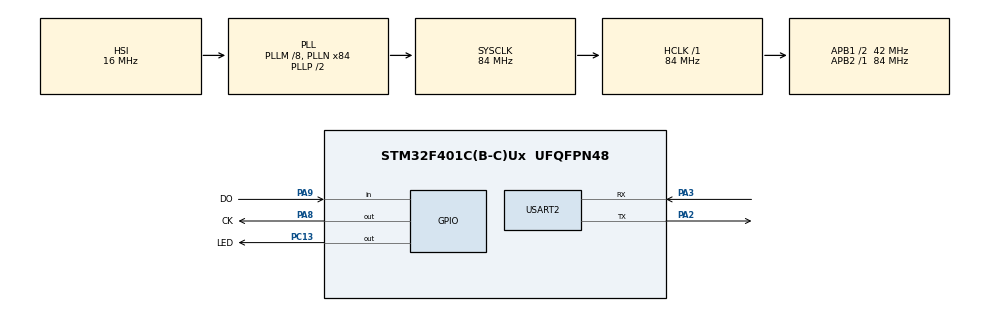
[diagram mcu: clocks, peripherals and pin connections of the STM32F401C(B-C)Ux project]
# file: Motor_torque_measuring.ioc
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Mcu.Family=STM32F4
Mcu.Name=STM32F401C(B-C)Ux
Mcu.Package=UFQFPN48
NVIC.PriorityGroup=NVIC_PRIORITYGROUP_4
NVIC.USART2_IRQn=true\:0\:0\:false\:false\:true\:true\:true\:true
PA13.Mode=Serial_Wire
PA13.Signal=SYS_JTMS-SWDIO
PA14.Mode=Serial_Wire
PA14.Signal=SYS_JTCK-SWCLK
PA2.Mode=Asynchronous
PA2.Signal=USART2_TX
PA3.Mode=Asynchronous
PA3.Signal=USART2_RX
PA8.GPIO_Label=CK
PA8.Signal=GPIO_Output
PA9.GPIO_Label=DO
PA9.Signal=GPIO_Input
PC13-ANTI_TAMP.GPIO_Label=LED
PC13-ANTI_TAMP.Signal=GPIO_Output
PH0\ -\ OSC_IN.Mode=HSE-External-Oscillator
PH0\ -\ OSC_IN.Signal=RCC_OSC_IN
PH1\ -\ OSC_OUT.Mode=HSE-External-Oscillator
PH1\ -\ OSC_OUT.Signal=RCC_OSC_OUT
ProjectManager.HeapSize=0x200
ProjectManager.StackSize=0x400
ProjectManager.TargetToolchain=CMake
RCC.48MHZClocksFreq_Value=42000000
RCC.AHBFreq_Value=84000000
RCC.APB1CLKDivider=RCC_HCLK_DIV2
RCC.APB1Freq_Value=42000000
RCC.APB1TimFreq_Value=84000000
RCC.APB2Freq_Value=84000000
RCC.APB2TimFreq_Value=84000000
RCC.CortexFreq_Value=84000000
RCC.HCLKFreq_Value=84000000
RCC.HSE_VALUE=25000000
RCC.HSI_VALUE=16000000
RCC.LSE_VALUE=32768
RCC.PLLM=8
RCC.PLLN=84
RCC.SYSCLKFreq_VALUE=84000000
RCC.SYSCLKSource=RCC_SYSCLKSOURCE_PLLCLK
RCC.VCOOutputFreq_Value=168000000
USART2.VirtualMode=VM_ASYNC
board=custom

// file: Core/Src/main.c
/* USER CODE BEGIN Header */
/**
  ******************************************************************************
  * @file           : main.c
  * @brief          : Main program body
  ******************************************************************************
  * @attention
  *
  * Copyright (c) 2026 STMicroelectronics.
  * All rights reserved.
  *
  * This software is licensed under terms that can be found in the LICENSE file
  * in the root directory of this software component.
  * If no LICENSE file comes with this software, it is provided AS-IS.
  *
  ******************************************************************************
  */
/* USER CODE END Header */
#include "main.h"
#include "stdio.h"

UART_HandleTypeDef huart2;

/* USER CODE BEGIN PV */
uint32_t last_send_time = 0;
int32_t data_int = 0;
char data_str[16]; // Buffer to hold the string representation of the integer
int32_t average_offset = 0; // Variable to hold the average offset for calibration
float alpha_filt_ = 0.1; // Smoothing factor for the low-pass filter

uint32_t HX711_cycles_max = 0; // Variable to hold the maximum HX711 cycle count
/* USER CODE END PV */

void SystemClock_Config(void);
static void MX_GPIO_Init(void);
static void MX_USART2_UART_Init(void);

/* USER CODE BEGIN 0 */
uint32_t DWT_Delay_Init(void) {
    CoreDebug->DEMCR |= CoreDebug_DEMCR_TRCENA_Msk;
    DWT->CTRL |= DWT_CTRL_CYCCNTENA_Msk;
    DWT->CYCCNT = 0;
    return 0;
}
void delay_us(uint32_t us) {
    uint32_t start = DWT->CYCCNT;
    uint32_t ticks = (SystemCoreClock / 1000000U) * us;
    while ((DWT->CYCCNT - start) < ticks) {
        // busy-wait, but only for ~1-2us at a time in HX711 use
    }
  }
int32_t HX711_read(void){
  uint32_t raw = 0;

  /* Wait here until HX711 signals a conversion is ready */
  while (HAL_GPIO_ReadPin(DO_GPIO_Port, DO_Pin) == GPIO_PIN_SET) { }

  for (int i = 0; i < 24; i++) {
    HAL_GPIO_WritePin(CK_GPIO_Port, CK_Pin, GPIO_PIN_SET);
    delay_us(1);
    raw = (raw << 1) | HAL_GPIO_ReadPin(DO_GPIO_Port, DO_Pin);
    HAL_GPIO_WritePin(CK_GPIO_Port, CK_Pin, GPIO_PIN_RESET);
    delay_us(1);
  }

  /* 25th pulse: arm next conversion as channel A, gain 128 */
  HAL_GPIO_WritePin(CK_GPIO_Port, CK_Pin, GPIO_PIN_SET);
  delay_us(1);
  HAL_GPIO_WritePin(CK_GPIO_Port, CK_Pin, GPIO_PIN_RESET);
  delay_us(1);

  /* sign-extend 24-bit two's complement into 32-bit signed */
  int32_t result;
  if (raw & 0x800000) {
    result = (int32_t)(raw | 0xFF000000);
  } else {
    result = (int32_t)raw;
  }
  result = result - average_offset;
  return result;

}

int32_t Calibrate_HX711() {
    int32_t sum = 0;
    const int num_samples = 10;

    for (int i = 0; i < num_samples; i++) {
        sum += HX711_read();
        HAL_GPIO_TogglePin(LED_GPIO_Port, LED_Pin); // Toggle LED to indicate reading
        HAL_Delay(50); // Delay between readings
    }

    int32_t average = sum / num_samples;
    // Store the average value as the offset for calibration
    // You can use this offset in your main loop to adjust readings
    return average;
}
void send_telemetry() {
    uint32_t HX711 = DWT->CYCCNT;

    data_int = HX711_read();
    int len = snprintf(data_str, sizeof(data_str), "%d\r\n", data_int); // Convert integer to string with newline
    HAL_UART_Transmit(&huart2, (uint8_t*)data_str, len, HAL_MAX_DELAY);

    uint32_t HX711_cycles = DWT->CYCCNT - HX711;
    if (HX711_cycles > HX711_cycles_max) HX711_cycles_max = HX711_cycles;
    // Takes about 8ms to read so 20ms is a good interval for sending telemetry
  }
// void send_telemetry();

// void USART_send_byte(){

// }
/* USER CODE END 0 */

int main(void)
{

  /* MCU Configuration--------------------------------------------------------*/

  /* Reset of all peripherals, Initializes the Flash interface and the Systick. */
  HAL_Init();

  /* Configure the system clock */
  SystemClock_Config();

  /* USER CODE BEGIN SysInit */
  DWT_Delay_Init(); // Initialize DWT for microsecond delay
  /* USER CODE END SysInit */

  /* Initialize all configured peripherals */
  MX_GPIO_Init();
  MX_USART2_UART_Init();
  /* USER CODE BEGIN 2 */
  average_offset = Calibrate_HX711(); // Calibrate the HX711 and get the average offset
  /* USER CODE END 2 */

  /* Infinite loop */
  while (1)
  {
    int32_t current_time = HAL_GetTick();
    if (current_time - last_send_time >= 20) { // Check if 20 ms has passed
      HAL_GPIO_TogglePin(LED_GPIO_Port, LED_Pin); // Toggle LED to indicate sending telemetry
      send_telemetry();
      last_send_time = current_time;
    }
  }
}

void SystemClock_Config(void)
{
  RCC_OscInitTypeDef RCC_OscInitStruct = {0};
  RCC_ClkInitTypeDef RCC_ClkInitStruct = {0};

  /** Configure the main internal regulator output voltage
  */
  __HAL_RCC_PWR_CLK_ENABLE();
  __HAL_PWR_VOLTAGESCALING_CONFIG(PWR_REGULATOR_VOLTAGE_SCALE2);

  /** Initializes the RCC Oscillators according to the specified parameters
  * in the RCC_OscInitTypeDef structure.
  */
  RCC_OscInitStruct.OscillatorType = RCC_OSCILLATORTYPE_HSI;
  RCC_OscInitStruct.HSIState = RCC_HSI_ON;
  RCC_OscInitStruct.HSICalibrationValue = RCC_HSICALIBRATION_DEFAULT;
  RCC_OscInitStruct.PLL.PLLState = RCC_PLL_ON;
  RCC_OscInitStruct.PLL.PLLSource = RCC_PLLSOURCE_HSI;
  RCC_OscInitStruct.PLL.PLLM = 8;
  RCC_OscInitStruct.PLL.PLLN = 84;
  RCC_OscInitStruct.PLL.PLLP = RCC_PLLP_DIV2;
  RCC_OscInitStruct.PLL.PLLQ = 4;
  if (HAL_RCC_OscConfig(&RCC_OscInitStruct) != HAL_OK)
  {
    Error_Handler();
  }

  /** Initializes the CPU, AHB and APB buses clocks
  */
  RCC_ClkInitStruct.ClockType = RCC_CLOCKTYPE_HCLK|RCC_CLOCKTYPE_SYSCLK
                              |RCC_CLOCKTYPE_PCLK1|RCC_CLOCKTYPE_PCLK2;
  RCC_ClkInitStruct.SYSCLKSource = RCC_SYSCLKSOURCE_PLLCLK;
  RCC_ClkInitStruct.AHBCLKDivider = RCC_SYSCLK_DIV1;
  RCC_ClkInitStruct.APB1CLKDivider = RCC_HCLK_DIV2;
  RCC_ClkInitStruct.APB2CLKDivider = RCC_HCLK_DIV1;

  if (HAL_RCC_ClockConfig(&RCC_ClkInitStruct, FLASH_LATENCY_2) != HAL_OK)
  {
    Error_Handler();
  }
}

static void MX_USART2_UART_Init(void)
{

  huart2.Instance = USART2;
  huart2.Init.BaudRate = 115200;
  huart2.Init.WordLength = UART_WORDLENGTH_8B;
  huart2.Init.StopBits = UART_STOPBITS_1;
  huart2.Init.Parity = UART_PARITY_NONE;
  huart2.Init.Mode = UART_MODE_TX_RX;
  huart2.Init.HwFlowCtl = UART_HWCONTROL_NONE;
  huart2.Init.OverSampling = UART_OVERSAMPLING_16;
  if (HAL_UART_Init(&huart2) != HAL_OK)
  {
    Error_Handler();
  }

}

static void MX_GPIO_Init(void)
{
  GPIO_InitTypeDef GPIO_InitStruct = {0};

  /* GPIO Ports Clock Enable */
  __HAL_RCC_GPIOH_CLK_ENABLE();
  __HAL_RCC_GPIOA_CLK_ENABLE();

  /*Configure GPIO pin Output Level */
  HAL_GPIO_WritePin(CK_GPIO_Port, CK_Pin, GPIO_PIN_RESET);

  /*Configure GPIO pin : CK_Pin */
  GPIO_InitStruct.Pin = CK_Pin;
  GPIO_InitStruct.Mode = GPIO_MODE_OUTPUT_PP;
  GPIO_InitStruct.Pull = GPIO_NOPULL;
  GPIO_InitStruct.Speed = GPIO_SPEED_FREQ_LOW;
  HAL_GPIO_Init(CK_GPIO_Port, &GPIO_InitStruct);

  /*Configure GPIO pin : DO_Pin */
  GPIO_InitStruct.Pin = DO_Pin;
  GPIO_InitStruct.Mode = GPIO_MODE_INPUT;
  GPIO_InitStruct.Pull = GPIO_NOPULL;
  HAL_GPIO_Init(DO_GPIO_Port, &GPIO_InitStruct);

}

void Error_Handler(void)
{
  __disable_irq();
  while (1)
  {
  }
}
